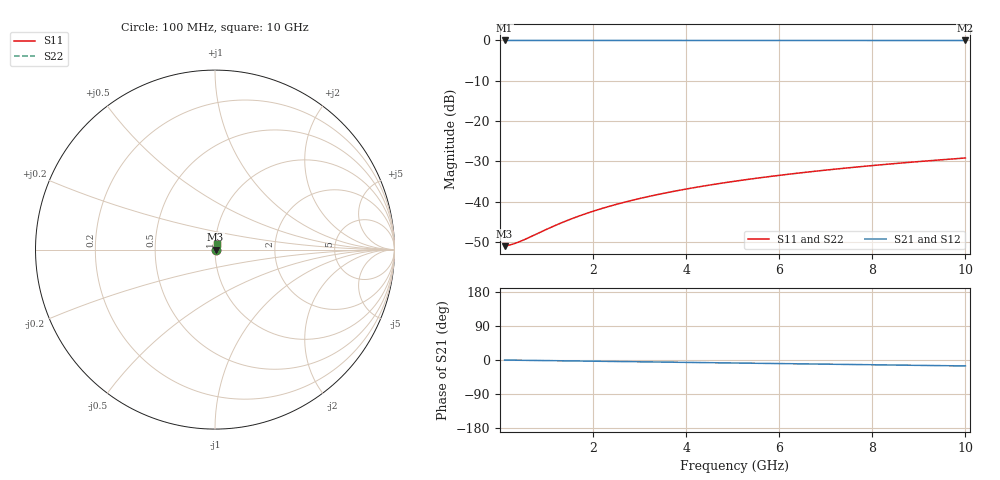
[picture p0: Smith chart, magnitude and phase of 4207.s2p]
# Hz S RI R 50.00
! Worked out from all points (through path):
!   100 points, 100 MHz to 10 GHz, reference 50 ohm
!   highest |S21| = -0.02 dB at 100 MHz (marker M1); lowest = 0.0 dB at 10 GHz (marker M2)
!   group delay of S21, straight-line fit = 4.36 ps
!   lowest |S11| = -51.0 dB at 100 MHz (marker M3), VSWR 1.01, Z = 50.3 + j0.0346 ohm
!   |S11| at or under -10 dB: start of sweep to end of sweep
!   |S22| runs from -51.0 to -29.2 dB; largest |S21 - S12| = 0
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1e8  0.00279 0.000345  0.9972 -0.00273  0.9972 -0.00273  0.00279 0.000345
2e8  0.00281 0.000689  0.9972 -0.00546  0.9972 -0.00546  0.00281 0.000689
3e8  0.00283 0.00103  0.9971 -0.00818  0.9971 -0.00818  0.00283 0.00103
4e8  0.00284 0.00138  0.9971 -0.0109  0.9971 -0.0109  0.00284 0.00138
6e8  0.00288 0.00207  0.997 -0.0164  0.997 -0.0164  0.00288 0.00207
1e9  0.00296 0.00344  0.9967 -0.0273  0.9967 -0.0273  0.00296 0.00344
1.2e9  0.00301 0.00413  0.9966 -0.0327  0.9966 -0.0327  0.00301 0.00413
1.5e9  0.0031 0.00516  0.9962 -0.0409  0.9962 -0.0409  0.0031 0.00516
1.8e9  0.0032 0.00618  0.9958 -0.0491  0.9958 -0.0491  0.0032 0.00618
2.1e9  0.00332 0.00721  0.9954 -0.0573  0.9954 -0.0573  0.00332 0.00721
2.5e9  0.00351 0.00857  0.9947 -0.0681  0.9947 -0.0681  0.00351 0.00857
2.9e9  0.00372 0.00993  0.9938 -0.079  0.9938 -0.079  0.00372 0.00993
3.4e9  0.00403 0.0116  0.9926 -0.0926  0.9926 -0.0926  0.00403 0.0116
3.8e9  0.00431 0.013  0.9915 -0.1035  0.9915 -0.1035  0.00431 0.013
4.2e9  0.00462 0.0143  0.9903 -0.1143  0.9903 -0.1143  0.00462 0.0143
4.6e9  0.00496 0.0156  0.9889 -0.1252  0.9889 -0.1252  0.00496 0.0156
5.1e9  0.00542 0.0173  0.9871 -0.1387  0.9871 -0.1387  0.00542 0.0173
5.9e9  0.00625 0.0199  0.9837 -0.1603  0.9837 -0.1603  0.00625 0.0199
6.7e9  0.0072 0.0225  0.9799 -0.1818  0.9799 -0.1818  0.0072 0.0225
7.5e9  0.00826 0.025  0.9755 -0.2033  0.9755 -0.2033  0.00826 0.025
8.4e9  0.00959 0.0278  0.9701 -0.2273  0.9701 -0.2273  0.00959 0.0278
1e10  0.0123 0.0326  0.959 -0.2696  0.959 -0.2696  0.0123 0.0326
